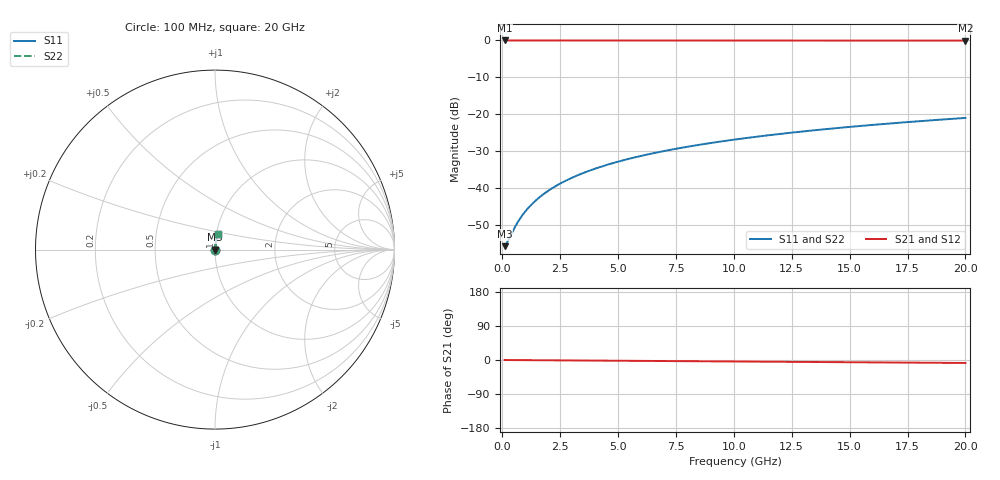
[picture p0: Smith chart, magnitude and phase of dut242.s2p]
! Touchstone file exported from HFSS 2026.1.0
!  File:  C:/ffzhzh/LocalFiles/Ansys_Project_Files/temp_train_TSV_242_1782992654_6248.aedt
!  Generated:  07:46:25 PM Jul  2, 2026
!  Design:  TSV
!  Project:  temp_train_TSV_242_1782992654_6248
! Variables:
!  h_bsmrdl = 2um
!  h_ox = 20um
!  h_rdl = 5um
!  h_sub = 56.46um
!  h_tmrdl = 5um
!  h_tsv = 56.46um
!  h_via = 3um
!  l_bsmrdl = 300um
!  l_sub = 404.08um
!  l_tmrdl = 200um
!  m_sub = 200um
!  pitch = 32um
!  r_tsv = 2.04um
!  s_tmrdl = 10um
!  w_bsmrdl = 18um
!  w_sub = 500um
!  w_tmrdl = 12um
!  x_tsv_center1 = 206um
!  x_tsv_center2 = 524um
!  x_tsv_center3 = 736um
!  x_tsv_center4 = 1054um
!  x_tsv_center5 = 1266um
!  x_tsv_center6 = 1584um
# GHz S MA R 50.000000
! Terminal data exported
! Port[1] = TSV1_1_T1
! Port[2] = TSV1_1_T2
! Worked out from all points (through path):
!   200 points, 100 MHz to 20 GHz, reference 50 ohm
!   highest |S21| = -0.01 dB at 100 MHz (marker M1); lowest = -0.1 dB at 20 GHz (marker M2)
!   group delay of S21, straight-line fit = 1.09 ps
!   lowest |S11| = -55.7 dB at 100 MHz (marker M3), VSWR 1.00, Z = 50.2 + j0.0465 ohm
!   |S11| at or under -10 dB: start of sweep to end of sweep
!   |S22| runs from -55.7 to -21.0 dB; largest |S21 - S12| = 2.1e-15
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0.1  0.001645 16.4  0.9984 -0.0  0.9984 -0.0  0.001645 16.4
! Gamma 0 0 0 0
! Port Impedance 50 0 50 0
0.2  0.001833 30.3  0.9984 -0.1  0.9984 -0.1  0.001833 30.3
0.5  0.00281 55.2  0.9984 -0.2  0.9984 -0.2  0.00281 55.2
0.6  0.003202 59.8  0.9984 -0.2  0.9984 -0.2  0.003202 59.8
0.8  0.004027 66.1  0.9984 -0.3  0.9984 -0.3  0.004027 66.1
0.9  0.004451 68.3  0.9984 -0.4  0.9984 -0.4  0.004451 68.3
1.1  0.005315 71.7  0.9984 -0.4  0.9984 -0.4  0.005315 71.7
1.4  0.006634 75.1  0.9983 -0.6  0.9983 -0.6  0.006634 75.1
1.8  0.008416 77.9  0.9983 -0.7  0.9983 -0.7  0.008416 77.9
2.3  0.01066 80.1  0.9983 -0.9  0.9983 -0.9  0.01066 80.1
2.9  0.01337 81.5  0.9982 -1.2  0.9982 -1.2  0.01337 81.5
3.5  0.01609 82.4  0.9981 -1.4  0.9981 -1.4  0.01609 82.4
4.2  0.01926 83.1  0.998 -1.7  0.998 -1.7  0.01926 83.1
5  0.02289 83.5  0.9979 -2.0  0.9979 -2.0  0.02289 83.5
5.9  0.02696 83.7  0.9978 -2.3  0.9978 -2.3  0.02696 83.7
6.8  0.03103 83.7  0.9976 -2.7  0.9976 -2.7  0.03103 83.7
8.3  0.03778 83.6  0.9972 -3.3  0.9972 -3.3  0.03778 83.6
10.1  0.04585 83.2  0.9967 -4.0  0.9967 -4.0  0.04585 83.2
11.7  0.05299 82.8  0.9962 -4.6  0.9962 -4.6  0.05299 82.8
13.4  0.06052 82.2  0.9956 -5.3  0.9956 -5.3  0.06052 82.2
16.7  0.07503 81.2  0.9942 -6.6  0.9942 -6.6  0.07503 81.2
20  0.08937 80.0  0.9927 -7.8  0.9927 -7.8  0.08937 80.0
